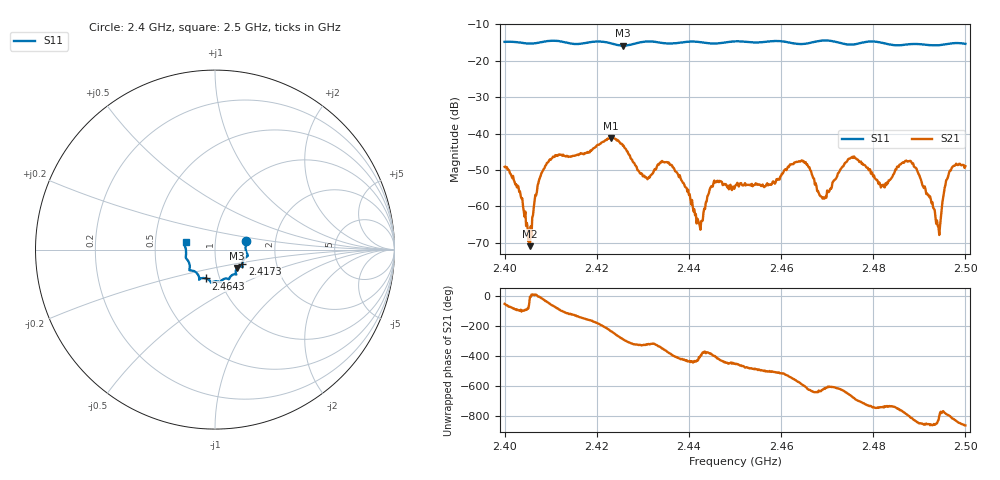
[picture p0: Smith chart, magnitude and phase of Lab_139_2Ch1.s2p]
# Hz S RI R 50
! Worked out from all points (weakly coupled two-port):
!   601 points, 2.4 GHz to 2.5 GHz, reference 50 ohm
!   highest |S21| = -41.20 dB at 2.423 GHz (marker M1); lowest = -70.9 dB at 2.4055 GHz (marker M2)
!   lowest |S11| = -15.9 dB at 2.4257 GHz (marker M3), VSWR 1.38, Z = 62.5 - j13.1 ohm
!   |S11| at or under -10 dB: start of sweep to end of sweep
!   S12 and S22 are empty: the file has one direction only
!   S11 on the Smith chart (normalised r, x): 2.4 GHz: 1.41, +0.14; 2.4173 GHz: 1.34, -0.23; 2.4643 GHz: 0.86, -0.28; 2.5 GHz: 0.72, +0.06
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2.4e9  0.1733 0.0494  0.002 -0.00286  0 0  0 0
2.4055e9  0.1704 0.0075  0.000283 -3.81e-05  0 0  0 0
2.409333e9  0.1825 -0.03  0.00283 -0.00282  0 0  0 0
2.416667e9  0.1531 -0.0747  -0.00445 -0.00294  0 0  0 0
2.417333e9  0.1523 -0.082  -0.00481 -0.00244  0 0  0 0
2.423e9  0.1452 -0.0934  -0.00495 0.00717  0 0  0 0
2.425667e9  0.123 -0.1022  0.00217 0.00645  0 0  0 0
2.4305e9  0.1186 -0.1376  0.00212 0.00134  0 0  0 0
2.433333e9  0.1128 -0.1371  0.00346 0.00157  0 0  0 0
2.437667e9  0.084 -0.1526  0.00164 -0.00218  0 0  0 0
2.442167e9  0.0738 -0.1636  0.000396 -0.000439  0 0  0 0
2.445333e9  0.053 -0.1624  0.00166 -0.0013  0 0  0 0
2.45e9  0.0295 -0.1807  -2.79e-05 -0.00187  0 0  0 0
2.464333e9  -0.0499 -0.1605  -0.003 0.00296  0 0  0 0
2.466667e9  -0.0758 -0.1596  9.18e-05 0.00277  0 0  0 0
2.469333e9  -0.0876 -0.1666  -0.000318 0.00124  0 0  0 0
2.475333e9  -0.1093 -0.1239  0.00282 0.00372  0 0  0 0
2.483333e9  -0.1409 -0.0899  0.0022 -0.000579  0 0  0 0
2.488167e9  -0.1606 -0.0496  4.96e-05 -0.00417  0 0  0 0
2.494167e9  -0.162 0.000222  -0.000119 -0.000498  0 0  0 0
2.496667e9  -0.1693 0.0239  0.000621 -0.00306  0 0  0 0
2.5e9  -0.1638 0.0424  -0.00272 -0.00229  0 0  0 0
